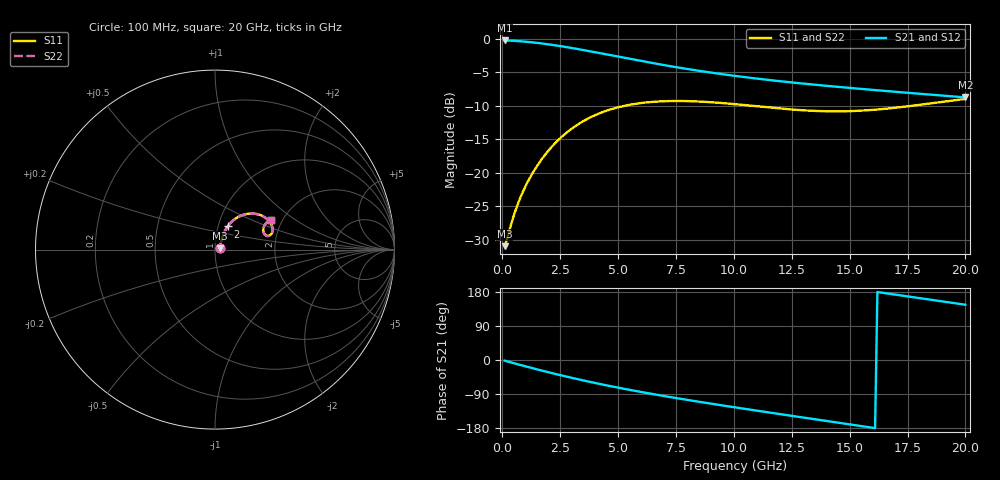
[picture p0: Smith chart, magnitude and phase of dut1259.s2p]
! Touchstone file exported from HFSS 2024.1.0
!  File:  C:/UserFiles/LocalFiles/RDL_TSV_Batchsim/temp_RDL_TSV_1259_1780271764.aedt
!  Generated:  08:14:45 AM Jun  1, 2026
!  Design:  RDL_TSV
!  Project:  temp_RDL_TSV_1259_1780271764
!  Setup:  Setup1
!  Solution:  Sweep
! Variables:
!  dtsv = 7.7um
!  hbump = 3um
!  htsv = 53.13um
!  ldown = 376.18um
!  lrdl = 562.08um
!  p = 40
!  p1 = 42.61um
!  rhole = 10um
!  subl = 3376.86um
!  t = 450um
!  tdown = 4.59um
!  trdl = 2.13um
!  viad = 10um
!  wdown = 16.23um
!  wrdl = 17.17um
!  xbump = 18um
# GHz S MA R 50.000000
! Terminal data exported
! Port[1] = TM1_1_T1
! Port[2] = TM1_4_T1
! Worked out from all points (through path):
!   200 points, 100 MHz to 20 GHz, reference 50 ohm
!   highest |S21| = -0.24 dB at 100 MHz (marker M1); lowest = -8.7 dB at 20 GHz (marker M2)
!   group delay of S21, straight-line fit = 28.2 ps
!   lowest |S11| = -30.9 dB at 100 MHz (marker M3), VSWR 1.06, Z = 52.8 + j0.814 ohm
!   |S11| at or under -10 dB: start of sweep to 5.265 GHz; 10.82 GHz to 17.66 GHz (6.836 GHz wide, 48 % of centre)
!   |S22| runs from -30.9 to -9.0 dB; largest |S21 - S12| = 1.4e-14
!   S11 on the Smith chart (normalised r, x): 100 MHz: 1.06, +0.02; 2 GHz: 1.11, +0.29; 20 GHz: 1.75, +0.67
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0.1  0.02843 15.7  0.9726 -1.7  0.9726 -1.7  0.02843 15.7
! Gamma 0 0 0 0
! Port Impedance 50 0 50 0
0.2  0.032 28.4  0.9716 -3.5  0.9716 -3.5  0.032 28.4
0.5  0.04832 48.3  0.9661 -8.5  0.9661 -8.5  0.04832 48.3
0.7  0.06044 54.2  0.9612 -11.8  0.9612 -11.8  0.06045 54.2
0.9  0.07297 57.8  0.9555 -15.1  0.9555 -15.1  0.07298 57.8
1.4  0.1059 61.7  0.9374 -23.1  0.9374 -23.1  0.1059 61.7
2  0.1472 61.4  0.9097 -32.4  0.9097 -32.4  0.1471 61.3
2.7  0.1947 57.8  0.8719 -42.8  0.8719 -42.8  0.1946 57.7
3.5  0.2434 51.8  0.8249 -53.9  0.8249 -53.9  0.2431 51.7
4.2  0.2784 46.1  0.7831 -63.1  0.7831 -63.1  0.278 46.0
4.9  0.3054 40.5  0.7425 -71.8  0.7425 -71.8  0.3049 40.4
5.8  0.3286 33.9  0.6937 -82.2  0.6937 -82.2  0.328 33.8
6.8  0.3414 27.6  0.6452 -93.1  0.6452 -93.1  0.3408 27.4
7.6  0.344 23.4  0.6111 -101.4  0.6111 -101.4  0.3432 23.2
8.4  0.3414 19.9  0.5808 -109.3  0.5808 -109.3  0.3405 19.8
10.1  0.3251 15.4  0.5279 -125.5  0.5279 -125.5  0.3242 15.2
11.7  0.3056 14.5  0.4892 -140.1  0.4892 -140.1  0.3045 14.3
13.4  0.2905 16.9  0.4564 -155.5  0.4564 -155.5  0.2893 16.7
15  0.2889 21.1  0.4305 -169.9  0.4305 -169.9  0.2875 20.9
16.7  0.3028 25.4  0.4064 174.9  0.4064 174.9  0.3013 25.2
18.4  0.3284 27.8  0.3846 159.9  0.3846 159.9  0.3268 27.7
20  0.3566 28.0  0.3658 145.8  0.3658 145.8  0.3549 27.9
